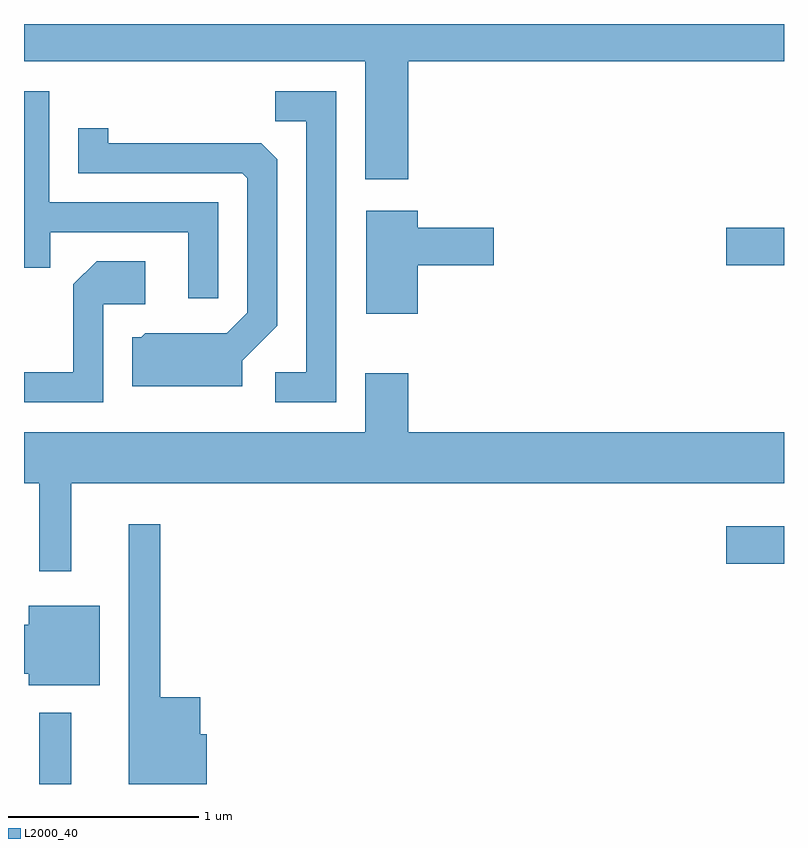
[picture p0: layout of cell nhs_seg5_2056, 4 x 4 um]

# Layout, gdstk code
import gdstk
lib = gdstk.Library(unit=1e-6, precision=1e-09)
def R(c, l, rs):  # rectangles x0, y0, x1, y1
    for r in rs: c.add(gdstk.rectangle(r[:2], r[2:], *l))
def P(c, l, *ps):  # polygons
    for p in ps: c.add(gdstk.Polygon(p, *l))
L2000_40 = (2000, 40)

nhs_seg5_2056 = lib.new_cell('nhs_seg5_2056')
R(nhs_seg5_2056, L2000_40, [(245.691,1484.072,245.859,1484.448), (249.306,1485.231,249.611,1485.429), (249.306,1486.801,249.611,1486.999)])
P(nhs_seg5_2056, L2000_40, [(247.634,1487.876),(249.611,1487.876),(249.611,1488.072),(245.611,1488.072),(245.611,1487.876),(247.406,1487.876),(247.406,1487.256),(247.634,1487.256)],
  [(246.634,1487.134),(245.744,1487.134),(245.744,1487.719),(245.611,1487.719),(245.611,1486.788),(245.749,1486.788),(245.749,1486.976),(246.476,1486.976),(246.476,1486.628),(246.634,1486.628)],
  [(247.254,1487.719),(246.933,1487.719),(246.933,1487.561),(247.096,1487.561),(247.096,1486.239),(246.933,1486.239),(246.933,1486.081),(247.254,1486.081)],
  [(246.759,1486.299),(246.944,1486.484),(246.944,1487.359),(246.859,1487.444),(246.054,1487.444),(246.054,1487.523),(245.896,1487.523),(245.896,1487.286),(246.759,1487.286),(246.786,1487.259),(246.786,1486.552),(246.679,1486.444),(246.249,1486.444),(246.229,1486.424),(246.181,1486.424),(246.181,1486.166),(246.759,1486.166)],
  [(247.684,1486.801),(248.084,1486.801),(248.084,1486.999),(247.684,1486.999),(247.684,1487.089),(247.411,1487.089),(247.411,1486.546),(247.684,1486.546)],
  [(246.029,1486.596),(246.249,1486.596),(246.249,1486.824),(245.994,1486.824),(245.871,1486.702),(245.871,1486.239),(245.611,1486.239),(245.611,1486.081),(246.029,1486.081)],
  [(245.859,1485.656),(249.611,1485.656),(249.611,1485.924),(247.634,1485.924),(247.634,1486.234),(247.406,1486.234),(247.406,1485.924),(245.611,1485.924),(245.611,1485.656),(245.691,1485.656),(245.691,1485.193),(245.859,1485.193)],
  [(246.574,1484.334),(246.539,1484.334),(246.539,1484.529),(246.329,1484.529),(246.329,1485.438),(246.161,1485.438),(246.161,1484.072),(246.574,1484.072)],
  [(246.009,1485.009),(245.636,1485.009),(245.636,1484.909),(245.611,1484.909),(245.611,1484.651),(245.636,1484.651),(245.636,1484.591),(246.009,1484.591)])

lib.write_gds('nhs_seg5_2056.gds')
